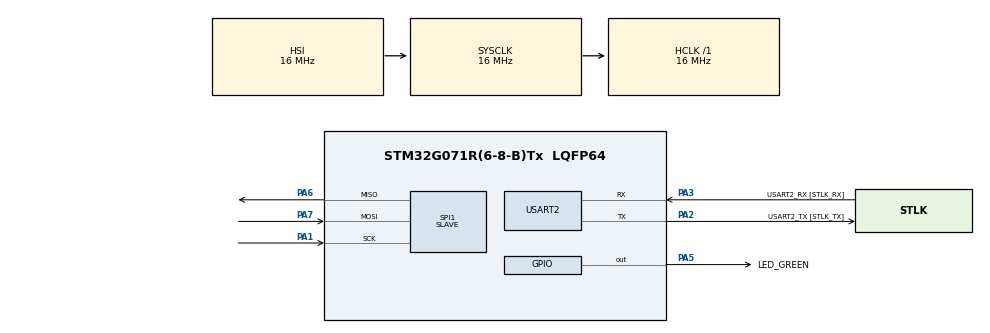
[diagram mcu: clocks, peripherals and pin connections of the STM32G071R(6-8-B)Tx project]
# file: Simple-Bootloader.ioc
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Mcu.Family=STM32G0
Mcu.Name=STM32G071R(6-8-B)Tx
Mcu.Package=LQFP64
PA1.Mode=Full_Duplex_Slave
PA1.Signal=SPI1_SCK
PA13.GPIO_Label=TMS
PA13.Mode=Serial_Wire
PA13.Signal=SYS_SWDIO
PA14-BOOT0.GPIO_Label=TCK
PA14-BOOT0.Mode=Serial_Wire
PA14-BOOT0.Signal=SYS_SWCLK
PA2.GPIO_Label=USART2_TX [STLK_TX]
PA2.GPIO_PuPd=GPIO_PULLUP
PA2.Mode=Asynchronous
PA2.Signal=USART2_TX
PA3.GPIO_Label=USART2_RX [STLK_RX]
PA3.GPIO_PuPd=GPIO_PULLUP
PA3.Mode=Asynchronous
PA3.Signal=USART2_RX
PA5.GPIO_Label=LED_GREEN
PA5.GPIO_Speed=GPIO_SPEED_FREQ_HIGH
PA5.Signal=GPIO_Output
PA6.Mode=Full_Duplex_Slave
PA6.Signal=SPI1_MISO
PA7.Mode=Full_Duplex_Slave
PA7.Signal=SPI1_MOSI
PC13.Mode=SYS_WakeUp1
PC13.Signal=SYS_WKUP2
PC14-OSC32_IN\ (PC14).Mode=LSE-External-Oscillator
PC14-OSC32_IN\ (PC14).Signal=RCC_OSC32_IN
PC15-OSC32_OUT\ (PC15).Mode=LSE-External-Oscillator
PC15-OSC32_OUT\ (PC15).Signal=RCC_OSC32_OUT
PF0-OSC_IN\ (PF0).GPIO_Label=MCO
PF0-OSC_IN\ (PF0).Mode=HSE-External-Clock-Source
PF0-OSC_IN\ (PF0).Signal=RCC_OSC_IN
ProjectManager.HeapSize=0x200
ProjectManager.StackSize=0x400
ProjectManager.TargetToolchain=STM32CubeIDE
RCC.AHBFreq_Value=16000000
RCC.CortexFreq_Value=16000000
RCC.EXTERNAL_CLOCK_VALUE=12288000
RCC.HCLKFreq_Value=16000000
RCC.HSE_VALUE=8000000
RCC.HSI_VALUE=16000000
RCC.SYSCLKFreq_VALUE=16000000
RCC.VCOOutputFreq_Value=128000000
SPI1.DataSize=SPI_DATASIZE_8BIT
SPI1.Direction=SPI_DIRECTION_2LINES
SPI1.Mode=SPI_MODE_SLAVE
SPI1.VirtualType=VM_SLAVE
USART2.VirtualMode-Asynchronous=VM_ASYNC
board=NUCLEO-G071RB

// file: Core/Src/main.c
/* USER CODE BEGIN Header */
/**
  ******************************************************************************
  * @file           : main.c
  * @brief          : Main program body
  ******************************************************************************
  * @attention
  *
  * Copyright (c) 2023 STMicroelectronics.
  * All rights reserved.
  *
  * This software is licensed under terms that can be found in the LICENSE file
  * in the root directory of this software component.
  * If no LICENSE file comes with this software, it is provided AS-IS.
  *
  ******************************************************************************
  */
/* USER CODE END Header */
#include "main.h"

/* USER CODE BEGIN Includes */
#include <stdio.h>
#include "staticlib.h"
/* USER CODE END Includes */

/* USER CODE BEGIN PTD */
typedef void (*pFunction)(void);
/* USER CODE END PTD */

/* USER CODE BEGIN PM */
typedef void (*ptrf)(uint32_t dlyticks); // Definisikan tipe pointer ke fungsi dengan parameter uint32_t
typedef void (*pFunction)(void);

struct BootloaderShareAPI
{
	void(*Blink)(uint32_t dlyticks);
	void(*TurnOn)(void);
	void(*TurnOff)(void);
};

/* USER CODE END PM */

SPI_HandleTypeDef hspi1;

UART_HandleTypeDef huart2;

/* USER CODE BEGIN PV */
uint8_t starAPP;

unsigned char __attribute__((section(".myBufSectionRAM"))) buf_ram[128];
const unsigned char __attribute__((section(".myBufSectionFLASH"))) buf_flash[10] = {
		0, 1, 2, 3, 4, 5, 6, 7, 8, 9
};

#define LOCATE_FUNC __attribute__((section(".mysection"))) // Atribut untuk menempatkan fungsi dalam bagian memori .mysection
#define FLASH_APP_ADDR	0x08007800
/* USER CODE END PV */

void SystemClock_Config(void);
static void MX_GPIO_Init(void);
static void MX_USART2_UART_Init(void);
static void MX_SPI1_Init(void);
/* USER CODE BEGIN PFP */
void go2APP(void);
void LOCATE_FUNC Blink(uint32_t dlyticks);
void LOCATE_FUNC TurnOn(void);
void LOCATE_FUNC TurnOff(void);

// Array yang berisi pointer ke fungsi Blink
//static ptrf Function[] =
//{
//		Blink
//};

//Fungsi untuk berpindah ke user application
void go2APP(void);
/* USER CODE END PFP */

/* USER CODE BEGIN 0 */

/* Fungsi yang akan ditempatkan dalam bagian flash memori .mysection
 * Fungsi ini akan di Share dengan Application Program
 */
void LOCATE_FUNC Blink(uint32_t dlyticks)
{
	HAL_GPIO_TogglePin(GPIOA, GPIO_PIN_5);
	HAL_Delay(dlyticks);
}

void LOCATE_FUNC TurnOn(void)
{
	HAL_GPIO_WritePin(GPIOA, GPIO_PIN_5, GPIO_PIN_SET);
}

void LOCATE_FUNC TurnOff(void)
{
	HAL_GPIO_WritePin(GPIOA, GPIO_PIN_5, GPIO_PIN_RESET);
}

//void __attribute__((__section__(".RamFunc"))) TurnOnLED(GPIO_PinState PinState)
//{
//	if(PinState != GPIO_PIN_RESET)
//	{
//		GPIOA->BSRR = (uint32_t)GPIO_PIN_5;
//	}
//	else
//	{
//		GPIOA->BRR = (uint32_t)GPIO_PIN_5;
//	}
//}

struct BootloaderShareAPI api __attribute__((section(".API_SHARED"))) = {
		Blink,
		TurnOn,
		TurnOff
};

//Function untuk jump to user app
void go2APP(void)
{
	uint32_t JumpAddress;
	pFunction Jump_To_Application;

	//Check
	if(((*(__IO uint32_t*) FLASH_APP_ADDR) & 0x2FFE0000) == 0x20000000)
	{
		printf("\r\nApp Start.... \r\n");
		HAL_Delay(100);
		//Jump to User Application //
		JumpAddress = *(__IO uint32_t*)(FLASH_APP_ADDR + 4);
		Jump_To_Application = (pFunction) JumpAddress;

		//Initialize user application's Stack Pointer//
		//__set_MSP(*(__IO uint32_t*)FLASH_APP_ADDR);
		HAL_GPIO_WritePin(GPIOA, GPIO_PIN_5, GPIO_PIN_SET);
		Jump_To_Application();
	}
	else
	{
		printf("No APP Found !! \r\n");
	}
}

int _write(int file, char *ptr, int len)
{
	int DataIdx;

	for(DataIdx=0; DataIdx<len; DataIdx++)
	{
		HAL_UART_Transmit(&huart2, (uint8_t *)ptr++, 1, 100);
	}
	return len;
}

/* USER CODE END 0 */

int main(void)
{

  /* MCU Configuration--------------------------------------------------------*/

  /* Reset of all peripherals, Initializes the Flash interface and the Systick. */
  HAL_Init();

  /* Configure the system clock */
  SystemClock_Config();

  /* Initialize all configured peripherals */
  MX_GPIO_Init();
  MX_USART2_UART_Init();
  MX_SPI1_Init();
  /* USER CODE BEGIN 2 */
  printf("\r\nBootloader Start \r\n");
  printf("Program Berjalan Pada Mode Bootloader \r\n");
  printf("LED PA 5 ON\r\n");
  HAL_GPIO_WritePin(GPIOA, GPIO_PIN_5, GPIO_PIN_SET);
  printf("Send Data 0x50 dari SPI Master untuk melompat ke Application Program\r\n");
  HAL_SPI_Receive(&hspi1, &starAPP, 1, HAL_MAX_DELAY);
  while(starAPP != 0x50);
  printf("Star APP = %x \r\n",starAPP);

//  int sum = add(1,2);
//  printf("%d \r\n", sum);
  /* USER CODE END 2 */

  /* Infinite loop */
  /* USER CODE BEGIN WHILE */
  while (1)
  {
	  go2APP();
	  HAL_Delay(1000);
	  //Blink(1000);
//	  TurnOnLED(GPIO_PIN_SET);

	  // Panggil fungsi Blink yang ada di dalam array Function dengan argumen 100
	 // Function[0](100);
    /* USER CODE END WHILE */

  }
}

void SystemClock_Config(void)
{
  RCC_OscInitTypeDef RCC_OscInitStruct = {0};
  RCC_ClkInitTypeDef RCC_ClkInitStruct = {0};

  /** Configure the main internal regulator output voltage
  */
  HAL_PWREx_ControlVoltageScaling(PWR_REGULATOR_VOLTAGE_SCALE1);

  /** Initializes the RCC Oscillators according to the specified parameters
  * in the RCC_OscInitTypeDef structure.
  */
  RCC_OscInitStruct.OscillatorType = RCC_OSCILLATORTYPE_HSI;
  RCC_OscInitStruct.HSIState = RCC_HSI_ON;
  RCC_OscInitStruct.HSIDiv = RCC_HSI_DIV1;
  RCC_OscInitStruct.HSICalibrationValue = RCC_HSICALIBRATION_DEFAULT;
  RCC_OscInitStruct.PLL.PLLState = RCC_PLL_NONE;
  if (HAL_RCC_OscConfig(&RCC_OscInitStruct) != HAL_OK)
  {
    Error_Handler();
  }

  /** Initializes the CPU, AHB and APB buses clocks
  */
  RCC_ClkInitStruct.ClockType = RCC_CLOCKTYPE_HCLK|RCC_CLOCKTYPE_SYSCLK
                              |RCC_CLOCKTYPE_PCLK1;
  RCC_ClkInitStruct.SYSCLKSource = RCC_SYSCLKSOURCE_HSI;
  RCC_ClkInitStruct.AHBCLKDivider = RCC_SYSCLK_DIV1;
  RCC_ClkInitStruct.APB1CLKDivider = RCC_HCLK_DIV1;

  if (HAL_RCC_ClockConfig(&RCC_ClkInitStruct, FLASH_LATENCY_0) != HAL_OK)
  {
    Error_Handler();
  }
}

static void MX_SPI1_Init(void)
{

  /* SPI1 parameter configuration*/
  hspi1.Instance = SPI1;
  hspi1.Init.Mode = SPI_MODE_SLAVE;
  hspi1.Init.Direction = SPI_DIRECTION_2LINES;
  hspi1.Init.DataSize = SPI_DATASIZE_8BIT;
  hspi1.Init.CLKPolarity = SPI_POLARITY_LOW;
  hspi1.Init.CLKPhase = SPI_PHASE_1EDGE;
  hspi1.Init.NSS = SPI_NSS_SOFT;
  hspi1.Init.FirstBit = SPI_FIRSTBIT_MSB;
  hspi1.Init.TIMode = SPI_TIMODE_DISABLE;
  hspi1.Init.CRCCalculation = SPI_CRCCALCULATION_DISABLE;
  hspi1.Init.CRCPolynomial = 7;
  hspi1.Init.CRCLength = SPI_CRC_LENGTH_DATASIZE;
  hspi1.Init.NSSPMode = SPI_NSS_PULSE_DISABLE;
  if (HAL_SPI_Init(&hspi1) != HAL_OK)
  {
    Error_Handler();
  }

}

static void MX_USART2_UART_Init(void)
{

  huart2.Instance = USART2;
  huart2.Init.BaudRate = 115200;
  huart2.Init.WordLength = UART_WORDLENGTH_8B;
  huart2.Init.StopBits = UART_STOPBITS_1;
  huart2.Init.Parity = UART_PARITY_NONE;
  huart2.Init.Mode = UART_MODE_TX_RX;
  huart2.Init.HwFlowCtl = UART_HWCONTROL_NONE;
  huart2.Init.OverSampling = UART_OVERSAMPLING_16;
  huart2.Init.OneBitSampling = UART_ONE_BIT_SAMPLE_DISABLE;
  huart2.Init.ClockPrescaler = UART_PRESCALER_DIV1;
  huart2.AdvancedInit.AdvFeatureInit = UART_ADVFEATURE_NO_INIT;
  if (HAL_UART_Init(&huart2) != HAL_OK)
  {
    Error_Handler();
  }
  if (HAL_UARTEx_SetTxFifoThreshold(&huart2, UART_TXFIFO_THRESHOLD_1_8) != HAL_OK)
  {
    Error_Handler();
  }
  if (HAL_UARTEx_SetRxFifoThreshold(&huart2, UART_RXFIFO_THRESHOLD_1_8) != HAL_OK)
  {
    Error_Handler();
  }
  if (HAL_UARTEx_DisableFifoMode(&huart2) != HAL_OK)
  {
    Error_Handler();
  }

}

static void MX_GPIO_Init(void)
{
  GPIO_InitTypeDef GPIO_InitStruct = {0};

  /* GPIO Ports Clock Enable */
  __HAL_RCC_GPIOC_CLK_ENABLE();
  __HAL_RCC_GPIOF_CLK_ENABLE();
  __HAL_RCC_GPIOA_CLK_ENABLE();

  /*Configure GPIO pin Output Level */
  HAL_GPIO_WritePin(LED_GREEN_GPIO_Port, LED_GREEN_Pin, GPIO_PIN_RESET);

  /*Configure GPIO pin : LED_GREEN_Pin */
  GPIO_InitStruct.Pin = LED_GREEN_Pin;
  GPIO_InitStruct.Mode = GPIO_MODE_OUTPUT_PP;
  GPIO_InitStruct.Pull = GPIO_NOPULL;
  GPIO_InitStruct.Speed = GPIO_SPEED_FREQ_HIGH;
  HAL_GPIO_Init(LED_GREEN_GPIO_Port, &GPIO_InitStruct);

}

void Error_Handler(void)
{
  __disable_irq();
  while (1)
  {
  }
}
